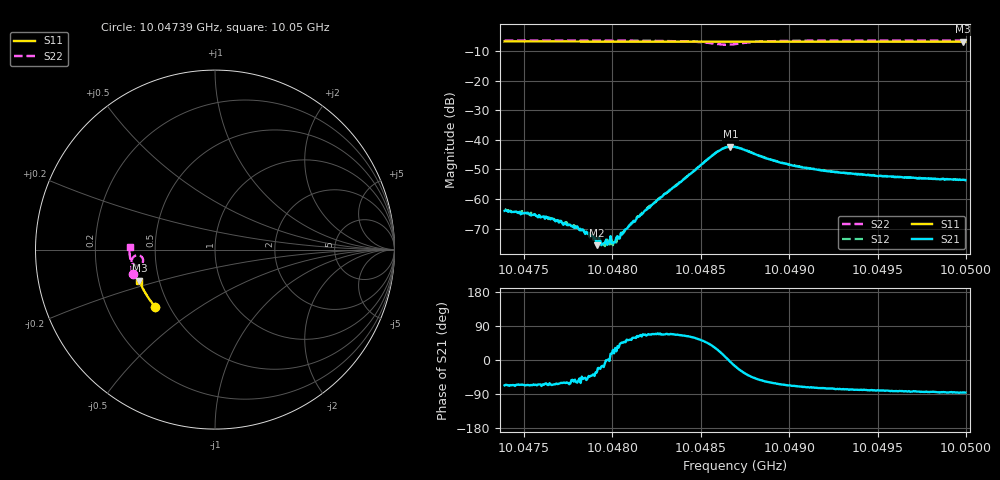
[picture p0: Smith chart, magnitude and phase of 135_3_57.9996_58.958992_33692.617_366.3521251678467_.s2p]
#  HZ  S  RI  R  50.00
! Rohde & Schwarz Vector Network Analyzer
! Rohde-Schwarz,ZNB20-2Port,1311601062101988,3.16
! Created: UTC 3/21/2024, 12:56:18 AM
! freq[Hz]  re:S11  im:S11  re:S21  im:S21  re:S12  im:S12  re:S22  im:S22
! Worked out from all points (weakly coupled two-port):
!   401 points, 10.04739 GHz to 10.05 GHz, reference 50 ohm
!   highest |S21| = -42.31 dB at 10.04867 GHz (marker M1); lowest = -75.7 dB at 10.04791 GHz (marker M2)
!   lowest |S11| = -6.8 dB at 10.04998 GHz (marker M3), VSWR 2.67, Z = 19.3 - j8.44 ohm
!   |S11| at or under -10 dB: nowhere
!   |S22| runs from -7.9 to -6.4 dB; largest |S21 - S12| = 0.00055
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1.0047392e10  -0.3325 -0.3183  0.000247 -0.000581  0.000305 -0.000603  -0.4583 -0.1381
1.0047555e10  -0.3397 -0.31  0.000231 -0.000485  0.000274 -0.000496  -0.4609 -0.1267
1.0047652e10  -0.3438 -0.3051  0.000191 -0.000412  0.00024 -0.000381  -0.4625 -0.1199
1.0047828e10  -0.3511 -0.2958  0.000216 -0.000208  0.000188 -0.000234  -0.4648 -0.1067
1.004788e10  -0.3534 -0.2932  0.000174 -0.000154  0.000194 -0.000159  -0.4654 -0.1026
1.0047913e10  -0.3546 -0.2915  0.000138 -8.88e-05  0.000225 -0.000109  -0.4658 -0.1
1.0047945e10  -0.3558 -0.2898  0.000167 -4.58e-05  0.000194 -3.92e-05  -0.4662 -0.0974
1.0047978e10  -0.3572 -0.288  0.00019 4.68e-06  0.000195 1.45e-05  -0.4665 -0.0947
1.0047991e10  -0.3577 -0.2873  0.000226 6.58e-05  0.000165 5.74e-05  -0.4666 -0.0936
1.004801e10  -0.3586 -0.2863  0.000175 5.56e-05  0.000182 9.83e-05  -0.4665 -0.0919
1.0048017e10  -0.3587 -0.2861  0.000159 9.83e-05  0.000176 9.07e-05  -0.4668 -0.0914
1.0048154e10  -0.3643 -0.2788  0.00022 0.000455  0.0002 0.000476  -0.4672 -0.0791
1.0048264e10  -0.3686 -0.2728  0.000373 0.000916  0.000296 0.000985  -0.4663 -0.0676
1.0048577e10  -0.3794 -0.2552  0.00482 0.0032  0.00465 0.0035  -0.4222 -0.032
1.0048629e10  -0.3809 -0.2524  0.00698 0.00161  0.00692 0.00206  -0.4038 -0.0471
1.0048668e10  -0.3822 -0.2504  0.00763 -0.000656  0.00774 -0.000165  -0.4012 -0.0675
1.0048694e10  -0.3832 -0.2492  0.00728 -0.00211  0.00745 -0.00165  -0.4068 -0.0792
1.0048948e10  -0.3921 -0.2349  0.00182 -0.00372  0.00205 -0.00363  -0.4636 -0.071
1.004913e10  -0.398 -0.2243  0.000951 -0.00309  0.00118 -0.00302  -0.4715 -0.0512
1.0049566e10  -0.4109 -0.1986  0.000358 -0.00239  0.00049 -0.00237  -0.4762 -0.0147
1.0049983e10  -0.4213 -0.1731  0.000165 -0.00211  0.000234 -0.00212  -0.4764 0.0153
1.0049996e10  -0.4218 -0.1724  0.000146 -0.00207  0.000225 -0.00208  -0.4763 0.0163
